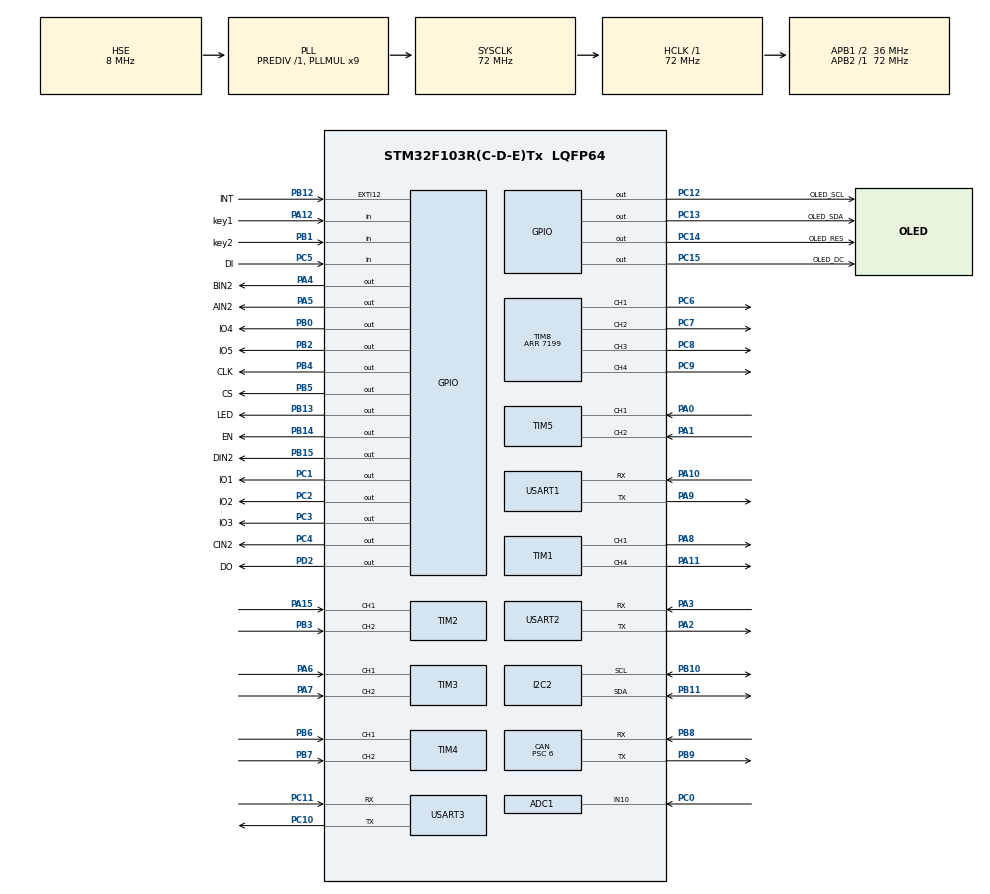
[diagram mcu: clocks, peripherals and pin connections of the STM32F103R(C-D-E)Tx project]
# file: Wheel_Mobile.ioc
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ADC1.Channel-0\#ChannelRegularConversion=ADC_CHANNEL_10
ADC1.NbrOfConversionFlag=1
ADC1.Rank-0\#ChannelRegularConversion=1
ADC1.SamplingTime-0\#ChannelRegularConversion=ADC_SAMPLETIME_239CYCLES_5
ADC1.master=1
CAN.BS1=CAN_BS1_3TQ
CAN.BS2=CAN_BS2_2TQ
CAN.CalculateBaudRate=999999
CAN.CalculateTimeBit=1000
CAN.CalculateTimeQuantum=166.66666666666669
CAN.Prescaler=6
Dma.Request0=USART1_RX
Dma.Request1=USART1_TX
Dma.Request2=USART3_RX
Dma.Request3=USART3_TX
Dma.USART1_RX.0.Direction=DMA_PERIPH_TO_MEMORY
Dma.USART1_RX.0.Instance=DMA1_Channel5
Dma.USART1_RX.0.MemDataAlignment=DMA_MDATAALIGN_BYTE
Dma.USART1_RX.0.MemInc=DMA_MINC_ENABLE
Dma.USART1_RX.0.Mode=DMA_NORMAL
Dma.USART1_RX.0.PeriphDataAlignment=DMA_PDATAALIGN_BYTE
Dma.USART1_RX.0.PeriphInc=DMA_PINC_DISABLE
Dma.USART1_RX.0.Priority=DMA_PRIORITY_LOW
Dma.USART1_TX.1.Direction=DMA_MEMORY_TO_PERIPH
Dma.USART1_TX.1.Instance=DMA1_Channel4
Dma.USART1_TX.1.MemDataAlignment=DMA_MDATAALIGN_BYTE
Dma.USART1_TX.1.MemInc=DMA_MINC_ENABLE
Dma.USART1_TX.1.Mode=DMA_NORMAL
Dma.USART1_TX.1.PeriphDataAlignment=DMA_PDATAALIGN_BYTE
Dma.USART1_TX.1.PeriphInc=DMA_PINC_DISABLE
Dma.USART1_TX.1.Priority=DMA_PRIORITY_LOW
Dma.USART3_RX.2.Direction=DMA_PERIPH_TO_MEMORY
Dma.USART3_RX.2.Instance=DMA1_Channel3
Dma.USART3_RX.2.MemDataAlignment=DMA_MDATAALIGN_BYTE
Dma.USART3_RX.2.MemInc=DMA_MINC_ENABLE
Dma.USART3_RX.2.Mode=DMA_CIRCULAR
Dma.USART3_RX.2.PeriphDataAlignment=DMA_PDATAALIGN_BYTE
Dma.USART3_RX.2.PeriphInc=DMA_PINC_DISABLE
Dma.USART3_RX.2.Priority=DMA_PRIORITY_LOW
Dma.USART3_TX.3.Direction=DMA_MEMORY_TO_PERIPH
Dma.USART3_TX.3.Instance=DMA1_Channel2
Dma.USART3_TX.3.MemDataAlignment=DMA_MDATAALIGN_BYTE
Dma.USART3_TX.3.MemInc=DMA_MINC_ENABLE
Dma.USART3_TX.3.Mode=DMA_CIRCULAR
Dma.USART3_TX.3.PeriphDataAlignment=DMA_PDATAALIGN_BYTE
Dma.USART3_TX.3.PeriphInc=DMA_PINC_DISABLE
Dma.USART3_TX.3.Priority=DMA_PRIORITY_LOW
FREERTOS.Tasks01=defaultTask,0,256,StartDefaultTask,Default,NULL,Dynamic,NULL,NULL;oled,-1,512,Oled_show,Default,NULL,Dynamic,NULL,NULL;ps2,1,256,PS2_recv,Default,NULL,Dynamic,NULL,NULL;angle_motor,3,512,Angle_motor_control,Default,NULL,Dynamic,NULL,NULL;Encoder,2,256,Encoder_Four,Default,NULL,Dynamic,NULL,NULL;Motor,3,128,Motor_Set,Default,NULL,Dynamic,NULL,NULL;Jetson,3,512,Jetson_Receive,Default,NULL,Dynamic,NULL,NULL;ADC,-1,128,Get_Vol,Default,NULL,Dynamic,NULL,NULL
FREERTOS.configTOTAL_HEAP_SIZE=20480
Mcu.Family=STM32F1
Mcu.Name=STM32F103R(C-D-E)Tx
Mcu.Package=LQFP64
NVIC.DMA1_Channel2_IRQn=true\:5\:0\:false\:false\:true\:true\:false\:true\:true
NVIC.DMA1_Channel3_IRQn=true\:5\:0\:false\:false\:true\:true\:false\:true\:true
NVIC.DMA1_Channel4_IRQn=true\:5\:0\:false\:false\:true\:true\:false\:true\:true
NVIC.DMA1_Channel5_IRQn=true\:5\:0\:false\:false\:true\:true\:false\:true\:true
NVIC.EXTI15_10_IRQn=true\:5\:0\:false\:false\:true\:true\:true\:true\:true
NVIC.PriorityGroup=NVIC_PRIORITYGROUP_4
NVIC.TIM6_IRQn=true\:15\:0\:false\:false\:true\:false\:false\:true\:true
NVIC.TimeBase=TIM6_IRQn
NVIC.TimeBaseIP=TIM6
NVIC.USART1_IRQn=true\:5\:0\:false\:false\:true\:true\:true\:true\:true
NVIC.USART3_IRQn=true\:5\:0\:false\:false\:true\:true\:true\:true\:true
NVIC.USB_LP_CAN1_RX0_IRQn=true\:5\:0\:false\:false\:true\:true\:true\:true\:true
PA0-WKUP.Signal=S_TIM5_CH1
PA1.Signal=S_TIM5_CH2
PA10.Mode=Asynchronous
PA10.Signal=USART1_RX
PA11.Signal=S_TIM1_CH4
PA12.GPIO_Label=key1
PA12.GPIO_PuPd=GPIO_PULLUP
PA12.Signal=GPIO_Input
PA13.Mode=Serial_Wire
PA13.Signal=SYS_JTMS-SWDIO
PA14.Mode=Serial_Wire
PA14.Signal=SYS_JTCK-SWCLK
PA15.Signal=S_TIM2_CH1_ETR
PA2.Mode=Asynchronous
PA2.Signal=USART2_TX
PA3.Mode=Asynchronous
PA3.Signal=USART2_RX
PA4.GPIO_Label=BIN2
PA4.Signal=GPIO_Output
PA5.GPIO_Label=AIN2
PA5.Signal=GPIO_Output
PA6.Signal=S_TIM3_CH1
PA7.Signal=S_TIM3_CH2
PA8.Signal=S_TIM1_CH1
PA9.Mode=Asynchronous
PA9.Signal=USART1_TX
PB0.GPIO_Label=IO4
PB0.Signal=GPIO_Output
PB1.GPIO_Label=key2
PB1.GPIO_PuPd=GPIO_PULLUP
PB1.Signal=GPIO_Input
PB10.Mode=I2C
PB10.Signal=I2C2_SCL
PB11.Mode=I2C
PB11.Signal=I2C2_SDA
PB12.GPIO_Label=INT
PB12.Signal=GPXTI12
PB13.GPIO_Label=LED
PB13.Signal=GPIO_Output
PB14.GPIO_Label=EN
PB14.Signal=GPIO_Output
PB15.GPIO_Label=DIN2
PB15.Signal=GPIO_Output
PB2.GPIO_Label=IO5
PB2.Signal=GPIO_Output
PB3.Signal=S_TIM2_CH2
PB4.GPIO_Label=CLK
PB4.GPIO_Speed=GPIO_SPEED_FREQ_HIGH
PB4.PinState=GPIO_PIN_RESET
PB4.Signal=GPIO_Output
PB5.GPIO_Label=CS
PB5.Signal=GPIO_Output
PB6.Signal=S_TIM4_CH1
PB7.Signal=S_TIM4_CH2
PB8.Mode=CAN_Activate
PB8.Signal=CAN_RX
PB9.Mode=CAN_Activate
PB9.Signal=CAN_TX
PC0.Signal=ADCx_IN10
PC1.GPIO_Label=IO1
PC1.Signal=GPIO_Output
PC10.Mode=Asynchronous
PC10.Signal=USART3_TX
PC11.Mode=Asynchronous
PC11.Signal=USART3_RX
PC12.GPIO_Label=OLED_SCL
PC12.Signal=GPIO_Output
PC13-TAMPER-RTC.GPIO_Label=OLED_SDA
PC13-TAMPER-RTC.Signal=GPIO_Output
PC14-OSC32_IN.GPIO_Label=OLED_RES
PC14-OSC32_IN.Signal=GPIO_Output
PC15-OSC32_OUT.GPIO_Label=OLED_DC
PC15-OSC32_OUT.Signal=GPIO_Output
PC2.GPIO_Label=IO2
PC2.Signal=GPIO_Output
PC3.GPIO_Label=IO3
PC3.Signal=GPIO_Output
PC4.GPIO_Label=CIN2
PC4.Signal=GPIO_Output
PC5.GPIO_Label=DI
PC5.Signal=GPIO_Input
PC6.Signal=S_TIM8_CH1
PC7.Signal=S_TIM8_CH2
PC8.Signal=S_TIM8_CH3
PC9.Signal=S_TIM8_CH4
PD0-OSC_IN.Mode=HSE-External-Oscillator
PD0-OSC_IN.Signal=RCC_OSC_IN
PD1-OSC_OUT.Mode=HSE-External-Oscillator
PD1-OSC_OUT.Signal=RCC_OSC_OUT
PD2.GPIO_Label=DO
PD2.Signal=GPIO_Output
ProjectManager.HeapSize=0x200
ProjectManager.StackSize=0x400
ProjectManager.TargetToolchain=MDK-ARM V5.32
RCC.ADCPresc=RCC_ADCPCLK2_DIV6
RCC.AHBFreq_Value=72000000
RCC.APB1CLKDivider=RCC_HCLK_DIV2
RCC.APB1Freq_Value=36000000
RCC.APB1TimFreq_Value=72000000
RCC.APB2Freq_Value=72000000
RCC.APB2TimFreq_Value=72000000
RCC.HCLKFreq_Value=72000000
RCC.PLLMUL=RCC_PLL_MUL9
RCC.PLLSourceVirtual=RCC_PLLSOURCE_HSE
RCC.SYSCLKFreq_VALUE=72000000
RCC.SYSCLKSource=RCC_SYSCLKSOURCE_PLLCLK
RCC.USBFreq_Value=72000000
SH.ADCx_IN10.0=ADC1_IN10,IN10
SH.S_TIM1_CH1.0=TIM1_CH1,PWM Generation1 CH1
SH.S_TIM1_CH4.0=TIM1_CH4,PWM Generation4 CH4
SH.S_TIM2_CH1_ETR.0=TIM2_CH1,Encoder_Interface
SH.S_TIM2_CH2.0=TIM2_CH2,Encoder_Interface
SH.S_TIM3_CH1.0=TIM3_CH1,Encoder_Interface
SH.S_TIM3_CH2.0=TIM3_CH2,Encoder_Interface
SH.S_TIM4_CH1.0=TIM4_CH1,Encoder_Interface
SH.S_TIM4_CH2.0=TIM4_CH2,Encoder_Interface
SH.S_TIM5_CH1.0=TIM5_CH1,Encoder_Interface
SH.S_TIM5_CH2.0=TIM5_CH2,Encoder_Interface
SH.S_TIM8_CH1.0=TIM8_CH1,PWM Generation1 CH1
SH.S_TIM8_CH2.0=TIM8_CH2,PWM Generation2 CH2
SH.S_TIM8_CH3.0=TIM8_CH3,PWM Generation3 CH3
SH.S_TIM8_CH4.0=TIM8_CH4,PWM Generation4 CH4
TIM1.Channel-PWM\ Generation1\ CH1=TIM_CHANNEL_1
TIM1.Channel-PWM\ Generation4\ CH4=TIM_CHANNEL_4
TIM1.OCMode_PWM-PWM\ Generation1\ CH1=TIM_OCMODE_PWM2
TIM1.OCMode_PWM-PWM\ Generation4\ CH4=TIM_OCMODE_PWM2
TIM2.EncoderMode=TIM_ENCODERMODE_TI12
TIM3.EncoderMode=TIM_ENCODERMODE_TI12
TIM4.EncoderMode=TIM_ENCODERMODE_TI12
TIM5.EncoderMode=TIM_ENCODERMODE_TI12
TIM8.AutoReloadPreload=TIM_AUTORELOAD_PRELOAD_ENABLE
TIM8.Channel-PWM\ Generation1\ CH1=TIM_CHANNEL_1
TIM8.Channel-PWM\ Generation2\ CH2=TIM_CHANNEL_2
TIM8.Channel-PWM\ Generation3\ CH3=TIM_CHANNEL_3
TIM8.Channel-PWM\ Generation4\ CH4=TIM_CHANNEL_4
TIM8.Period=7199
USART1.VirtualMode=VM_ASYNC
USART2.VirtualMode=VM_ASYNC
USART3.VirtualMode=VM_ASYNC
VP_FREERTOS_VS_CMSIS_V1.Mode=CMSIS_V1
VP_SYS_VS_tim6.Mode=TIM6
VP_TIM1_VS_ClockSourceINT.Mode=Internal
VP_TIM8_VS_ClockSourceINT.Mode=Internal
board=custom

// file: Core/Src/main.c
/* USER CODE BEGIN Header */
/**
  ******************************************************************************
  * @file           : main.c
  * @brief          : Main program body
  ******************************************************************************
  * @attention
  *
  * Copyright (c) 2025 STMicroelectronics.
  * All rights reserved.
  *
  * This software is licensed under terms that can be found in the LICENSE file
  * in the root directory of this software component.
  * If no LICENSE file comes with this software, it is provided AS-IS.
  *
  ******************************************************************************
  */
/* USER CODE END Header */
#include "main.h"
#include "cmsis_os.h"
#include "adc.h"
#include "can.h"
#include "dma.h"
#include "i2c.h"
#include "tim.h"
#include "usart.h"
#include "gpio.h"

/* USER CODE BEGIN Includes */
#include "delay.h"
/* USER CODE END Includes */

void SystemClock_Config(void);
void MX_FREERTOS_Init(void);

/* USER CODE BEGIN 0 */
float Roll,Pitch,Yaw,gyro_Roll,gyro_Pitch,gyro_Yaw ,accel_x,accel_y,accel_z;//XYZ三轴旋转角度、角速度
uint8_t PS2_KEY,PS2_LX,PS2_LY,PS2_RX,PS2_RY;
u8 Start_Flag_My=0;                    //启动标志
u8 Start_Flag=0;
u8  Flag_STOP=0;               //启动标志
u16 FLAG_CAN_ON;
u8  CAN_EN_A=0,CAN_EN_B=0,CAN_EN_C=0,CAN_EN_D=0,can_ser=15;
float Angle_current_A,Angle_current_B,Angle_current_C,Angle_current_D;
float Angle_error_A=0,Angle_error_B=0,Angle_error_C=0,Angle_error_D=0;
float Current_angle_A,Current_angle_B,Current_angle_C,Current_angle_D;
u8 abnormal=0,fault=0;

int Voltage;//电池电压
int count_size,count_sum;
/* USER CODE END 0 */

int main(void)
{

  /* MCU Configuration--------------------------------------------------------*/

  /* Reset of all peripherals, Initializes the Flash interface and the Systick. */
  HAL_Init();

  /* Configure the system clock */
  SystemClock_Config();

  /* Initialize all configured peripherals */
  MX_GPIO_Init();
  MX_DMA_Init();
  MX_ADC1_Init();
  MX_CAN_Init();
  MX_I2C2_Init();
  MX_TIM1_Init();
  MX_TIM2_Init();
  MX_TIM3_Init();
  MX_TIM4_Init();
  MX_TIM5_Init();
  MX_TIM8_Init();
  MX_USART1_UART_Init();
  MX_USART2_UART_Init();
  MX_USART3_UART_Init();
  /* USER CODE BEGIN 2 */
  if(DWT_Delay_Init())
  {
    Error_Handler(); /* Call Error Handler */
  }
  /* USER CODE END 2 */

  /* Call init function for freertos objects (in cmsis_os2.c) */
  MX_FREERTOS_Init();

  /* Start scheduler */
  osKernelStart();

  /* We should never get here as control is now taken by the scheduler */

  /* Infinite loop */
  while (1)
  {

  }
}

void SystemClock_Config(void)
{
  RCC_OscInitTypeDef RCC_OscInitStruct = {0};
  RCC_ClkInitTypeDef RCC_ClkInitStruct = {0};
  RCC_PeriphCLKInitTypeDef PeriphClkInit = {0};

  /** Initializes the RCC Oscillators according to the specified parameters
  * in the RCC_OscInitTypeDef structure.
  */
  RCC_OscInitStruct.OscillatorType = RCC_OSCILLATORTYPE_HSE;
  RCC_OscInitStruct.HSEState = RCC_HSE_ON;
  RCC_OscInitStruct.HSEPredivValue = RCC_HSE_PREDIV_DIV1;
  RCC_OscInitStruct.HSIState = RCC_HSI_ON;
  RCC_OscInitStruct.PLL.PLLState = RCC_PLL_ON;
  RCC_OscInitStruct.PLL.PLLSource = RCC_PLLSOURCE_HSE;
  RCC_OscInitStruct.PLL.PLLMUL = RCC_PLL_MUL9;
  if (HAL_RCC_OscConfig(&RCC_OscInitStruct) != HAL_OK)
  {
    Error_Handler();
  }

  /** Initializes the CPU, AHB and APB buses clocks
  */
  RCC_ClkInitStruct.ClockType = RCC_CLOCKTYPE_HCLK|RCC_CLOCKTYPE_SYSCLK
                              |RCC_CLOCKTYPE_PCLK1|RCC_CLOCKTYPE_PCLK2;
  RCC_ClkInitStruct.SYSCLKSource = RCC_SYSCLKSOURCE_PLLCLK;
  RCC_ClkInitStruct.AHBCLKDivider = RCC_SYSCLK_DIV1;
  RCC_ClkInitStruct.APB1CLKDivider = RCC_HCLK_DIV2;
  RCC_ClkInitStruct.APB2CLKDivider = RCC_HCLK_DIV1;

  if (HAL_RCC_ClockConfig(&RCC_ClkInitStruct, FLASH_LATENCY_2) != HAL_OK)
  {
    Error_Handler();
  }
  PeriphClkInit.PeriphClockSelection = RCC_PERIPHCLK_ADC;
  PeriphClkInit.AdcClockSelection = RCC_ADCPCLK2_DIV6;
  if (HAL_RCCEx_PeriphCLKConfig(&PeriphClkInit) != HAL_OK)
  {
    Error_Handler();
  }
}

void HAL_TIM_PeriodElapsedCallback(TIM_HandleTypeDef *htim)
{
  if (htim->Instance == TIM6)
  {
    HAL_IncTick();
  }
}

void Error_Handler(void)
{
  __disable_irq();
  while (1)
  {
  }
}

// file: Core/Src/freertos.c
/* USER CODE BEGIN Header */
/**
 ******************************************************************************
 * File Name          : freertos.c
 * Description        : Code for freertos applications
 ******************************************************************************
 * @attention
 *
 * Copyright (c) 2025 STMicroelectronics.
 * All rights reserved.
 *
 * This software is licensed under terms that can be found in the LICENSE file
 * in the root directory of this software component.
 * If no LICENSE file comes with this software, it is provided AS-IS.
 *
 ******************************************************************************
 */
/* USER CODE END Header */

#include "FreeRTOS.h"
#include "task.h"
#include "main.h"
#include "cmsis_os.h"

/* USER CODE BEGIN Includes */
#include "oled.h"
#include "mpu6050.h"
#include "ps2.h"
#include "math.h"
#include "can.h"
#include "movebase.h"
#include "usart.h"
#include "pid.h"
#include "motor.h"
#include "Encoder.h"
#include "Uart.h"
#include "key.h"
#include "ROS_Uart.h"
#include "adc.h"
/* USER CODE END Includes */

/* USER CODE BEGIN PM */
//-------------------------//
// ROS的输入
float input_vx_ROS = 0;
float input_vy_ROS = 0;
float input_omega_ROS = 0;
//-------------------------//
float set_a = 0;
float set_b = 0;
float set_c = 0;
float set_d = 0;

float input_vx = 0;
float input_vy = 0;
float input_omega = 0;

static uint32_t last_toggle_tick = 0;
static uint8_t key_processed = 0;

volatile uint8_t Stop_Key_State = 0;
volatile uint8_t Last_Key_State = 1;
volatile uint8_t Stop_Emergency = 0;
volatile uint8_t Select_Control_Mode = 0; // 0: PS2, 1: ROS

float Velocity_A = 0;
float Velocity_B = 0;
float Velocity_C = 0;
float Velocity_D = 0;

float Last_pwm_a = 0.0f;
float Last_pwm_b = 0.0f;
float Last_pwm_c = 0.0f;
float Last_pwm_d = 0.0f;

/* USER CODE END PM */

/* USER CODE BEGIN Variables */
float Encoder_A_Speed, Encoder_B_Speed, Encoder_C_Speed, Encoder_D_Speed;

extern PID_Incremental_t pid_motor_a;
extern PID_Incremental_t pid_motor_b;
extern PID_Incremental_t pid_motor_c;
extern PID_Incremental_t pid_motor_d;
extern uint8_t Start_Flag_My;

float Target_Speed_A = 500;
float Target_Speed_B = -1000;
float Target_Speed_C = -500;
float Target_Speed_D = 500;

extern PID_Incremental_TypeDef pid_m_a;
extern PID_Incremental_TypeDef pid_m_b;
extern PID_Incremental_TypeDef pid_m_c;
extern PID_Incremental_TypeDef pid_m_d;
int txlen = 0;

// 2. PID 计算
float pwm_a = 0, pwm_b = 0, pwm_c = 0, pwm_d = 0;
/* USER CODE END Variables */
osThreadId defaultTaskHandle;
osThreadId oledHandle;
osThreadId ps2Handle;
osThreadId angle_motorHandle;
osThreadId EncoderHandle;
osThreadId MotorHandle;
osThreadId JetsonHandle;
osThreadId ADCHandle;

/* USER CODE BEGIN FunctionPrototypes */
wheel_t wheel = {{0, 0}, {0, 0}, {0, 0}, {0, 0}, 90.0};

float PWM_Smooth_Limit(float target_pwm, float *last_pwm)
{
  float output_pwm = target_pwm;
  float delta = target_pwm - *last_pwm;
  const float MAX_STEP = 50.0f;

  if (fabs(target_pwm) > fabs(*last_pwm))
  {
    if (delta > MAX_STEP)
    {
      output_pwm = *last_pwm + MAX_STEP;
    }
    else if (delta < -MAX_STEP)
    {
      output_pwm = *last_pwm - MAX_STEP;
    }
  }
  else
  {
    output_pwm = target_pwm;
  }

  *last_pwm = output_pwm;

  if (output_pwm > 7199.0f)
    output_pwm = 7199.0f;
  if (output_pwm < -7199.0f)
    output_pwm = -7199.0f;

  return output_pwm;
}

/* USER CODE END FunctionPrototypes */

void StartDefaultTask(void const *argument);
void Oled_show(void const *argument);
void PS2_recv(void const *argument);
void Angle_motor_control(void const *argument);
void Encoder_Four(void const *argument);
void Motor_Set(void const *argument);
void Jetson_Receive(void const *argument);
void Get_Vol(void const *argument);

void MX_FREERTOS_Init(void); /* (MISRA C 2004 rule 8.1) */

/* GetIdleTaskMemory prototype (linked to static allocation support) */
void vApplicationGetIdleTaskMemory(StaticTask_t **ppxIdleTaskTCBBuffer, StackType_t **ppxIdleTaskStackBuffer, uint32_t *pulIdleTaskStackSize);

/* USER CODE BEGIN GET_IDLE_TASK_MEMORY */
static StaticTask_t xIdleTaskTCBBuffer;
static StackType_t xIdleStack[configMINIMAL_STACK_SIZE];

void vApplicationGetIdleTaskMemory(StaticTask_t **ppxIdleTaskTCBBuffer, StackType_t **ppxIdleTaskStackBuffer, uint32_t *pulIdleTaskStackSize)
{
  *ppxIdleTaskTCBBuffer = &xIdleTaskTCBBuffer;
  *ppxIdleTaskStackBuffer = &xIdleStack[0];
  *pulIdleTaskStackSize = configMINIMAL_STACK_SIZE;
  /* place for user code */
}
/* USER CODE END GET_IDLE_TASK_MEMORY */

void MX_FREERTOS_Init(void)
{

  /* Create the thread(s) */
  /* definition and creation of defaultTask */
  osThreadDef(defaultTask, StartDefaultTask, osPriorityNormal, 0, 256);
  defaultTaskHandle = osThreadCreate(osThread(defaultTask), NULL);

  /* definition and creation of oled */
  osThreadDef(oled, Oled_show, osPriorityBelowNormal, 0, 512);
  oledHandle = osThreadCreate(osThread(oled), NULL);

  /* definition and creation of ps2 */
  osThreadDef(ps2, PS2_recv, osPriorityAboveNormal, 0, 256);
  ps2Handle = osThreadCreate(osThread(ps2), NULL);

  /* definition and creation of angle_motor */
  osThreadDef(angle_motor, Angle_motor_control, osPriorityRealtime, 0, 512);
  angle_motorHandle = osThreadCreate(osThread(angle_motor), NULL);

  /* definition and creation of Encoder */
  osThreadDef(Encoder, Encoder_Four, osPriorityHigh, 0, 256);
  EncoderHandle = osThreadCreate(osThread(Encoder), NULL);

  /* definition and creation of Motor */
  osThreadDef(Motor, Motor_Set, osPriorityRealtime, 0, 128);
  MotorHandle = osThreadCreate(osThread(Motor), NULL);

  /* definition and creation of Jetson */
  osThreadDef(Jetson, Jetson_Receive, osPriorityRealtime, 0, 512);
  JetsonHandle = osThreadCreate(osThread(Jetson), NULL);

  /* definition and creation of ADC */
  osThreadDef(ADC, Get_Vol, osPriorityBelowNormal, 0, 128);
  ADCHandle = osThreadCreate(osThread(ADC), NULL);

}

/* USER CODE BEGIN Header_StartDefaultTask */
/**
 * @brief  Function implementing the defaultTask thread.
 * @param  argument: Not used
 * @retval None
 * @test  LED blinks every 500 ms
 */
/* USER CODE END Header_StartDefaultTask */
void StartDefaultTask(void const *argument)
{
  /* USER CODE BEGIN StartDefaultTask */
  PS2_LX = 128;
  PS2_LY = 128;
  PS2_RX = 128;
  PS2_RY = 128;
  // osDelay(200);         // 新增：上电后先等待200ms，让外设电源稳定
  // MPU6050_initialize(); // MPU6050初始化
  // osDelay(100);         // 延时
  // DMP_Init();           // 初始化DMP
  // osDelay(10);          // 延时

  /* Infinite loop */
  for (;;)
  {
    HAL_GPIO_TogglePin(GPIOB, GPIO_PIN_13);
    osDelay(100);
  }
  /* USER CODE END StartDefaultTask */
}

void Oled_show(void const *argument)
{
  /* USER CODE BEGIN Oled_show */
  OLED_Init(); /* Infinite loop */
  for (;;)
  {
    oled_show();
    osDelay(5);
  }
  /* USER CODE END Oled_show */
}

void PS2_recv(void const *argument)
{
  /* USER CODE BEGIN PS2_recv */
  PS2_SetInit(); // PS2手柄初始化
  /* Infinite loop */
  for (;;)
  {
    Stop_Key_State = HAL_GPIO_ReadPin(GPIOB, GPIO_PIN_1);
    PS2_Control();
    osDelay(5);
  }
  /* USER CODE END PS2_recv */
}

void Angle_motor_control(void const *argument)
{
  /* USER CODE BEGIN Angle_motor_control */

  uint32_t stuck_count = 0;
  uint8_t last_rx = 0, last_ry = 0, last_lx = 0, last_ly = 0;

  /* Infinite loop */
  for (;;)
  {
    CAN1_Receive_data();
    if (Start_Flag_My == 1 && Flag_STOP == 0)
    {
      CAN_EN_A = 1;
      CAN_EN_B = 1;
      CAN_EN_C = 1;
      CAN_EN_D = 1;
    }
    else
    {
      CAN_EN_A = 0;
      CAN_EN_B = 0;
      CAN_EN_C = 0;
      CAN_EN_D = 0;
    }
    // 检测手柄数据是否卡死
    if (PS2_RX == last_rx && PS2_RY == last_ry && PS2_LX == last_lx && PS2_LY == last_ly)
    {
      stuck_count++;
    }
    else
    {
      // 数据有变化，重置计数器和历史值
      stuck_count = 0;
      last_rx = PS2_RX;
      last_ry = PS2_RY;
      last_lx = PS2_LX;
      last_ly = PS2_LY;
    }

    // d断链状态
    //  全0或全255处于非正中状态，且数据长时间没有任何变化

    int is_disconnected = 0;

    if ((PS2_RX == 0 && PS2_RY == 0 && PS2_LX == 0 && PS2_LY == 0) ||
        (PS2_RX == 255 && PS2_RY == 255 && PS2_LX == 255 && PS2_LY == 255))
    {
      is_disconnected = 1;
    }

    if (is_disconnected)
    {
      // 断开后清零变量
      input_vx = 0;
      input_vy = 0;
      input_omega = 0;

      // 定义全局变量，防止连接后起飞
      PS2_LX = 128;
      PS2_LY = 128;
      PS2_RX = 128;
      PS2_RY = 128;
    }
    else
    {
      input_vx = (int)(127 - PS2_RY);
      input_vy = (int)(PS2_RX - 128);

      float raw_omega = (float)(PS2_LY - 127);
      input_omega = raw_omega / 250.0f; // 除以一个较大的数，减小旋转速度

      input_vx_ROS = Velocity_MID_X * 1000.0f; // m/s -> mm/s
      input_vy_ROS = Velocity_MID_Y * 1000.0f; // m/s -> mm/s

      // 角速度保持不变，因为 omega * 282 自动变成了 mm/s
      input_omega_ROS = Velocity_MID_Z;
    }

    // Output_Wheel((int)(127 - PS2_RY), (int)(PS2_RX - 128), (int)(PS2_LY - 127), &wheel);
    // Output_Wheel((int)(127 - PS2_RY), (int)(PS2_RX - 128), (int)(PS2_LY - 127), &wheel);

    if ((PS2_KEY == 1))
    {
      uint32_t current_tick = xTaskGetTickCount();

      if (key_processed == 0 && (current_tick - last_toggle_tick > 200))
      {
        Select_Control_Mode = !Select_Control_Mode;
        last_toggle_tick = current_tick;
        key_processed = 1;
      }
    }
    if (Select_Control_Mode == 0)
    {
      Output_Wheel(input_vx, input_vy, input_omega, &wheel);
    }
    else
    {
      Output_Wheel(input_vx_ROS, input_vy_ROS, input_omega_ROS, &wheel);
    }
    // Output_Wheel(input_vx, input_vy, input_omega, &wheel);
    //  Output_Wheel(input_vx_ROS, input_vy_ROS, input_omega_ROS, &wheel);
    CAN1_SEND_data(CAN_EN_A, CAN_EN_B, CAN_EN_C, CAN_EN_D,
                   RAD2ANGLE(wheel.rightFront.direction), RAD2ANGLE(wheel.leftFront.direction),
                   RAD2ANGLE(wheel.leftRear.direction), RAD2ANGLE(wheel.rightRear.direction));
    // CAN1_SEND_data(CAN_EN_A, CAN_EN_B, CAN_EN_C, CAN_EN_D,
    //                 0, 0,
    //                 0, 0);
    printf("a:%.2f,%.2f,%.2f,%.2f,%.2f,%.2f,%.2f,%.2f\r\n", Angle_current_A, Angle_current_B, Angle_current_C, Angle_current_D, RAD2ANGLE(wheel.rightFront.direction), RAD2ANGLE(wheel.leftFront.direction), RAD2ANGLE(wheel.leftRear.direction), RAD2ANGLE(wheel.rightRear.direction));
    //  osDelay(1000);
    //  HAL_UART_Transmit(&huart1, (uint8_t *)"hello\n", 6, 10);
    osDelay(5);
  }
  /* USER CODE END Angle_motor_control */
}

void Encoder_Four(void const *argument)
{
  /* USER CODE BEGIN Encoder_Four */
  // Encoder_Init();
  USART_Init_Logic();
  /* Infinite loop */
  for (;;)
  {

    //Send_Speed(Velocity_A, Velocity_B, Velocity_C, Velocity_D);
    // HAL_UART_Transmit_DMA(&huart3, (uint8_t *)&Velocity_D, sizeof(Velocity_D));
    osDelay(5);
  }
  /* USER CODE END Encoder_Four */
}

void Motor_Set(void const *argument)
{
  /* USER CODE BEGIN Motor_Set */
  Encoder_Init();
  Motor_Init(); // 电机初始化
  All_PID_Init();
  float pwm_factor = 1.719f;

  const float DIR_A = 1.0f;
  const float DIR_B = -1.0f;
  const float DIR_C = -1.0f;
  const float DIR_D = 1.0f;

  /* Infinite loop */
  for (;;)
  {
    // Uart3_Parse();
    if ((PS2_KEY == 4))
    {
      uint32_t current_tick = xTaskGetTickCount();

      if (key_processed == 0 && (current_tick - last_toggle_tick > 200))
      {
        Start_Flag_My = !Start_Flag_My;
        last_toggle_tick = current_tick;
        key_processed = 1;
      }
    }
    else
    {
      key_processed = 0;
    }

    if (Stop_Key_State == 0)
    {
      Stop_Emergency = 1;
      Start_Flag_My = 0;
    }
    else
    {
      Stop_Emergency = 0;
    }
    if (Start_Flag_My == 0 || Flag_STOP == 1 || Stop_Emergency == 1)
    {
      Motor_Set_Speed(0, 0, 0, 0);

      Last_pwm_a = 0;
      Last_pwm_b = 0;
      Last_pwm_c = 0;
      Last_pwm_d = 0;

      osDelay(10);
      continue;
    }

    // Motor_Set_Speed((int)pwm_a, (int)pwm_b, (int)pwm_c, (int)pwm_d);
    // //Motor_Set_Speed(100, 100, 100, 100);

    // set_a = wheel.rightFront.vel * pwm_factor;
    // set_b = wheel.leftFront.vel * pwm_factor;
    // set_c = wheel.leftRear.vel * pwm_factor;
    // set_d = wheel.rightRear.vel * pwm_factor;

    set_a = wheel.rightFront.vel * pwm_factor * DIR_A;
    set_b = wheel.leftFront.vel * pwm_factor * DIR_B;
    set_c = wheel.leftRear.vel * pwm_factor * DIR_C;
    set_d = wheel.rightRear.vel * pwm_factor * DIR_D;

    if (set_a > 7199)
      set_a = 7199;
    else if (set_a < -7199)
      set_a = -7199;
    if (set_b > 7199)
      set_b = 7199;
    else if (set_b < -7199)
      set_b = -7199;
    if (set_c > 7199)
      set_c = 7199;
    else if (set_c < -7199)
      set_c = -7199;
    if (set_d > 7199)
      set_d = 7199;
    else if (set_d < -7199)
      set_d = -7199;

    int raw_enc_a = Get_Encoder_Value(&htim5);
    int raw_enc_b = Get_Encoder_Value(&htim3);
    int raw_enc_c = Get_Encoder_Value(&htim2);
    int raw_enc_d = Get_Encoder_Value(&htim4);

    Encoder_A_Speed = (float)raw_enc_a;
    Encoder_B_Speed = (float)raw_enc_b;
    Encoder_C_Speed = (float)raw_enc_c;
    Encoder_D_Speed = (float)raw_enc_d;

    Velocity_A = Velocity_line_Cal(raw_enc_a);
    Velocity_B = Velocity_line_Cal(raw_enc_b);
    Velocity_C = Velocity_line_Cal(raw_enc_c);
    Velocity_D = Velocity_line_Cal(raw_enc_d);

    float raw_pwm_a = PID_Incremental_Calc(&pid_m_a, set_a, Encoder_A_Speed);
    float raw_pwm_b = PID_Incremental_Calc(&pid_m_b, set_b, Encoder_B_Speed);
    float raw_pwm_c = PID_Incremental_Calc(&pid_m_c, set_c, Encoder_C_Speed);
    float raw_pwm_d = PID_Incremental_Calc(&pid_m_d, set_d, Encoder_D_Speed);

    pwm_a = PWM_Smooth_Limit(raw_pwm_a, &Last_pwm_a);
    pwm_b = PWM_Smooth_Limit(raw_pwm_b, &Last_pwm_b);
    pwm_c = PWM_Smooth_Limit(raw_pwm_c, &Last_pwm_c);
    pwm_d = PWM_Smooth_Limit(raw_pwm_d, &Last_pwm_d);

    // // Motor_Set_Speed((int)set_a, (int)set_b, (int)set_c, (int)set_d);
    // Motor_Set_Speed((int)pwm_a, (int)pwm_b, (int)pwm_c, (int)pwm_d);

    Motor_Set_Speed((int)pwm_a, (int)pwm_b, (int)pwm_c, (int)pwm_d);

    osDelay(10);
  }
  /* USER CODE END Motor_Set */
}

void Jetson_Receive(void const *argument)
{
  /* USER CODE BEGIN Jetson_Receive */
  ROS_Uart_Init();
  /* Infinite loop */
  for (;;)
  {
    ROS_Uart_Task();
    osDelay(5);
  }
  /* USER CODE END Jetson_Receive */
}

void Get_Vol(void const *argument)
{
  for (;;)
  {
    osDelay(1);
  }
}
